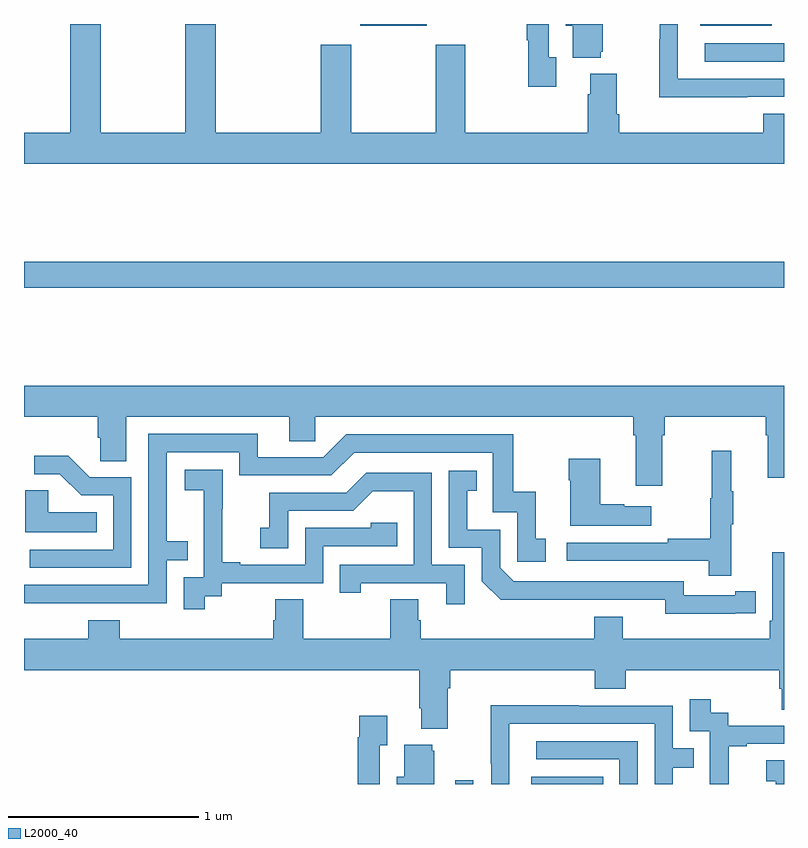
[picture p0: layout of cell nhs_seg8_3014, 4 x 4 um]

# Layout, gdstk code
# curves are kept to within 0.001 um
import gdstk
lib = gdstk.Library(unit=1e-6, precision=1e-09)
def R(c, l, rs):  # rectangles x0, y0, x1, y1
    for r in rs: c.add(gdstk.rectangle(r[:2], r[2:], *l))
def P(c, l, *ps):  # polygons
    for p in ps: c.add(gdstk.Polygon(p, *l))
L2000_40 = (2000, 40)

nhs_seg8_3014 = lib.new_cell('nhs_seg8_3014')
R(nhs_seg8_3014, L2000_40, [(301.269,1115.9,301.365,1115.92), (301.67,1115.9,302.048,1115.938), (299,1118.512,303,1118.648), (302.583,1119.702,303,1119.798), (300.77,1119.89,301.12,1119.9), (302.558,1119.89,302.936,1119.9)])
P(nhs_seg8_3014, L2000_40, [(302.036,1119.753),(302.047,1119.753),(302.047,1119.9),(301.85,1119.9),(301.85,1119.89),(301.889,1119.89),(301.889,1119.722),(302.036,1119.722)],
  [(303,1119.427),(302.891,1119.427),(302.891,1119.328),(302.132,1119.328),(302.132,1119.424),(302.119,1119.424),(302.119,1119.637),(301.979,1119.637),(301.979,1119.53),(301.967,1119.53),(301.967,1119.328),(301.323,1119.328),(301.323,1119.79),(301.168,1119.79),(301.168,1119.328),(300.723,1119.328),(300.723,1119.79),(300.563,1119.79),(300.563,1119.328),(300.008,1119.328),(300.008,1119.9),(299.848,1119.9),(299.848,1119.328),(299.403,1119.328),(299.403,1119.9),(299.243,1119.9),(299.243,1119.328),(299,1119.328),(299,1119.164),(303,1119.164)],
  [(301.801,1119.726),(301.761,1119.726),(301.761,1119.9),(301.645,1119.9),(301.645,1119.814),(301.653,1119.814),(301.653,1119.57),(301.801,1119.57)],
  [(302.807,1119.516),(303,1119.516),(303,1119.612),(302.442,1119.612),(302.442,1119.9),(302.346,1119.9),(302.346,1119.821),(302.344,1119.821),(302.344,1119.515),(302.807,1119.515)],
  [(302.359,1117.736),(302.372,1117.736),(302.372,1117.832),(302.903,1117.832),(302.903,1117.736),(302.915,1117.736),(302.915,1117.512),(303,1117.512),(303,1117.996),(299,1117.996),(299,1117.832),(299.387,1117.832),(299.387,1117.723),(299.4,1117.723),(299.4,1117.6),(299.539,1117.6),(299.539,1117.832),(300.395,1117.832),(300.395,1117.705),(300.534,1117.705),(300.534,1117.832),(302.207,1117.832),(302.207,1117.736),(302.219,1117.736),(302.219,1117.47),(302.359,1117.47)],
  [(299.255,1116.852),(299.751,1116.852),(299.751,1117.077),(299.861,1117.077),(299.861,1117.178),(299.751,1117.178),(299.751,1117.647),(300.132,1117.647),(300.132,1117.524),(300.618,1117.524),(300.738,1117.644),(301.467,1117.644),(301.467,1117.329),(301.596,1117.329),(301.596,1117.071),(301.747,1117.071),(301.747,1117.191),(301.694,1117.191),(301.694,1117.438),(301.576,1117.438),(301.576,1117.74),(300.696,1117.74),(300.576,1117.62),(300.229,1117.62),(300.229,1117.743),(299.655,1117.743),(299.655,1116.948),(299,1116.948),(299,1116.851)],
  [(302.723,1117.267),(302.734,1117.267),(302.734,1117.441),(302.723,1117.441),(302.723,1117.654),(302.62,1117.654),(302.62,1117.404),(302.613,1117.404),(302.613,1117.19),(302.389,1117.19),(302.389,1117.17),(301.857,1117.17),(301.857,1117.074),(302.605,1117.074),(302.605,1116.996),(302.723,1116.996)],
  [(299.565,1117.515),(299.346,1117.515),(299.233,1117.628),(299.055,1117.628),(299.055,1117.53),(299.189,1117.53),(299.3,1117.419),(299.469,1117.419),(299.469,1117.134),(299.031,1117.134),(299.031,1117.038),(299.565,1117.038)],
  [(302.302,1117.363),(302.159,1117.363),(302.159,1117.373),(302.032,1117.373),(302.032,1117.612),(301.867,1117.612),(301.867,1117.499),(301.874,1117.499),(301.874,1117.259),(302.302,1117.259)],
  [(299.95,1116.889),(300.042,1116.889),(300.042,1116.957),(300.576,1116.957),(300.576,1117.152),(300.965,1117.152),(300.965,1117.275),(300.825,1117.275),(300.825,1117.248),(300.48,1117.248),(300.48,1117.053),(300.139,1117.053),(300.139,1117.066),(300.044,1117.066),(300.044,1117.349),(300.045,1117.349),(300.045,1117.555),(299.847,1117.555),(299.847,1117.445),(299.945,1117.445),(299.945,1117.217),(299.946,1117.217),(299.946,1116.987),(299.841,1116.987),(299.841,1116.819),(299.95,1116.819)],
  [(302.744,1116.798),(302.852,1116.798),(302.852,1116.914),(302.744,1116.914),(302.744,1116.894),(302.472,1116.894),(302.472,1116.966),(301.578,1116.966),(301.506,1117.038),(301.506,1117.239),(301.333,1117.239),(301.333,1117.443),(301.382,1117.443),(301.382,1117.549),(301.236,1117.549),(301.236,1117.143),(301.41,1117.143),(301.41,1116.966),(301.508,1116.869),(302.376,1116.87),(302.376,1116.797)],
  [(301.32,1117.053),(301.146,1117.053),(301.146,1117.539),(300.8,1117.539),(300.695,1117.434),(300.292,1117.434),(300.292,1117.249),(300.243,1117.249),(300.243,1117.14),(300.39,1117.14),(300.39,1117.338),(300.732,1117.338),(300.836,1117.442),(301.05,1117.442),(301.05,1117.053),(300.661,1117.053),(300.661,1116.906),(300.772,1116.906),(300.772,1116.957),(301.223,1116.957),(301.223,1116.846),(301.32,1116.846)],
  [(299.384,1117.33),(299.127,1117.33),(299.127,1117.445),(299.006,1117.445),(299.006,1117.226),(299.384,1117.226)],
  [(301.231,1116.404),(301.244,1116.404),(301.244,1116.5),(302.003,1116.5),(302.003,1116.401),(302.168,1116.401),(302.168,1116.5),(302.975,1116.5),(302.975,1116.402),(302.987,1116.402),(302.987,1116.292),(303,1116.292),(303,1117.12),(302.937,1117.12),(302.937,1116.76),(302.924,1116.76),(302.924,1116.664),(302.152,1116.664),(302.152,1116.781),(302,1116.781),(302,1116.664),(301.088,1116.664),(301.088,1116.762),(301.075,1116.762),(301.075,1116.872),(300.928,1116.872),(300.928,1116.664),(300.471,1116.664),(300.471,1116.872),(300.323,1116.872),(300.323,1116.762),(300.311,1116.762),(300.311,1116.664),(299.504,1116.664),(299.504,1116.763),(299.339,1116.763),(299.339,1116.664),(299,1116.664),(299,1116.5),(301.079,1116.5),(301.079,1116.298),(301.091,1116.298),(301.091,1116.191),(301.231,1116.191)],
  [(302.708,1116.099),(302.803,1116.099),(302.803,1116.111),(303,1116.111),(303,1116.207),(302.706,1116.207),(302.706,1116.276),(302.614,1116.276),(302.614,1116.346),(302.505,1116.346),(302.505,1116.177),(302.61,1116.177),(302.61,1115.948),(302.609,1115.948),(302.609,1115.9),(302.708,1115.9)],
  [(301.554,1116.216),(302.319,1116.216),(302.319,1115.9),(302.415,1115.9),(302.415,1115.986),(302.525,1115.986),(302.525,1116.087),(302.415,1116.087),(302.415,1116.312),(301.919,1116.312),(301.919,1116.314),(301.456,1116.314),(301.456,1116.007),(301.458,1116.007),(301.458,1115.9),(301.554,1115.9)],
  [(300.873,1116.103),(300.913,1116.103),(300.913,1116.259),(300.765,1116.259),(300.765,1116.146),(300.757,1116.146),(300.757,1115.9),(300.873,1115.9)],
  [(302.229,1116.126),(301.695,1116.126),(301.695,1116.03),(302.133,1116.03),(302.133,1115.9),(302.229,1115.9)],
  [(301.159,1116.075),(301.148,1116.075),(301.148,1116.106),(301.001,1116.106),(301.001,1115.938),(300.962,1115.938),(300.962,1115.9),(301.159,1115.9)],
  [(303,1116.025),(302.907,1116.025),(302.907,1115.915),(302.956,1115.915),(302.956,1115.9),(303,1115.9)])

lib.write_gds('nhs_seg8_3014.gds')
